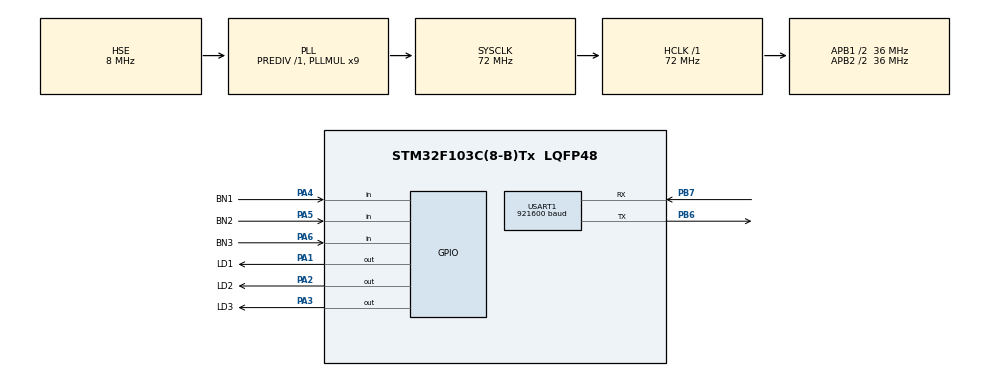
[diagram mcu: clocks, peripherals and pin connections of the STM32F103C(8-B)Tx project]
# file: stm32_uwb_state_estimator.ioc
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Dma.Request0=USART1_RX
Dma.Request1=USART1_TX
Dma.USART1_RX.0.Direction=DMA_PERIPH_TO_MEMORY
Dma.USART1_RX.0.Instance=DMA1_Channel5
Dma.USART1_RX.0.MemDataAlignment=DMA_MDATAALIGN_BYTE
Dma.USART1_RX.0.MemInc=DMA_MINC_ENABLE
Dma.USART1_RX.0.Mode=DMA_CIRCULAR
Dma.USART1_RX.0.PeriphDataAlignment=DMA_PDATAALIGN_BYTE
Dma.USART1_RX.0.PeriphInc=DMA_PINC_DISABLE
Dma.USART1_RX.0.Priority=DMA_PRIORITY_HIGH
Dma.USART1_TX.1.Direction=DMA_MEMORY_TO_PERIPH
Dma.USART1_TX.1.Instance=DMA1_Channel4
Dma.USART1_TX.1.MemDataAlignment=DMA_MDATAALIGN_BYTE
Dma.USART1_TX.1.MemInc=DMA_MINC_ENABLE
Dma.USART1_TX.1.Mode=DMA_NORMAL
Dma.USART1_TX.1.PeriphDataAlignment=DMA_PDATAALIGN_BYTE
Dma.USART1_TX.1.PeriphInc=DMA_PINC_DISABLE
Dma.USART1_TX.1.Priority=DMA_PRIORITY_HIGH
Mcu.Family=STM32F1
Mcu.Name=STM32F103C(8-B)Tx
Mcu.Package=LQFP48
NVIC.DMA1_Channel4_IRQn=true\:0\:0\:false\:false\:true\:false\:true\:true
NVIC.DMA1_Channel5_IRQn=true\:0\:0\:false\:false\:true\:false\:true\:true
NVIC.PriorityGroup=NVIC_PRIORITYGROUP_4
NVIC.TIM2_IRQn=true\:0\:0\:false\:false\:true\:true\:true\:true
NVIC.USART1_IRQn=true\:0\:0\:false\:false\:true\:true\:true\:true
PA1.GPIO_Label=LD1
PA1.GPIO_Speed=GPIO_SPEED_FREQ_HIGH
PA1.Signal=GPIO_Output
PA13.Mode=Serial_Wire
PA13.Signal=SYS_JTMS-SWDIO
PA14.Mode=Serial_Wire
PA14.Signal=SYS_JTCK-SWCLK
PA2.GPIO_Label=LD2
PA2.GPIO_Speed=GPIO_SPEED_FREQ_HIGH
PA2.Signal=GPIO_Output
PA3.GPIO_Label=LD3
PA3.GPIO_Speed=GPIO_SPEED_FREQ_HIGH
PA3.Signal=GPIO_Output
PA4.GPIO_Label=BN1
PA4.Signal=GPIO_Input
PA5.GPIO_Label=BN2
PA5.Signal=GPIO_Input
PA6.GPIO_Label=BN3
PA6.Signal=GPIO_Input
PB6.Mode=Asynchronous
PB6.Signal=USART1_TX
PB7.Mode=Asynchronous
PB7.Signal=USART1_RX
PD0-OSC_IN.Mode=HSE-External-Oscillator
PD0-OSC_IN.Signal=RCC_OSC_IN
PD1-OSC_OUT.Mode=HSE-External-Oscillator
PD1-OSC_OUT.Signal=RCC_OSC_OUT
ProjectManager.HeapSize=0x200
ProjectManager.StackSize=0x400
ProjectManager.TargetToolchain=STM32CubeIDE
RCC.AHBFreq_Value=72000000
RCC.APB1CLKDivider=RCC_HCLK_DIV2
RCC.APB1Freq_Value=36000000
RCC.APB1TimFreq_Value=72000000
RCC.APB2CLKDivider=RCC_HCLK_DIV2
RCC.APB2Freq_Value=36000000
RCC.APB2TimFreq_Value=72000000
RCC.EnbaleCSS=true
RCC.HCLKFreq_Value=72000000
RCC.PLLMUL=RCC_PLL_MUL9
RCC.PLLSourceVirtual=RCC_PLLSOURCE_HSE
RCC.SYSCLKFreq_VALUE=72000000
RCC.SYSCLKSource=RCC_SYSCLKSOURCE_PLLCLK
RCC.USBFreq_Value=72000000
TIM2.Period=36000 - 1
TIM2.Prescaler=2 - 1
USART1.BaudRate=921600
USART1.VirtualMode=VM_ASYNC
VP_TIM2_VS_ClockSourceINT.Mode=Internal
board=custom

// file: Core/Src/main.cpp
/* USER CODE BEGIN Header */
/**
  ******************************************************************************
  * @file           : main.c
  * @brief          : Main program body
  ******************************************************************************
  * @attention
  *
  * Copyright (c) 2022 STMicroelectronics.
  * All rights reserved.
  *
  * This software is licensed under terms that can be found in the LICENSE file
  * in the root directory of this software component.
  * If no LICENSE file comes with this software, it is provided AS-IS.
  *
  ******************************************************************************
  */
/* USER CODE END Header */
#include "main.h"
#include "dma.h"
#include "tim.h"
#include "usart.h"
#include "gpio.h"

/* USER CODE BEGIN Includes */
#include "uart_buffer.h"
#include "nlink/tagframe0.h"
#include "nlink/extractor.h"
#include "nlink/publisher.h"
/* USER CODE END Includes */

/* USER CODE BEGIN PV */
int m_sec;
UARTBuffer uart_buffer(&huart1);
ProtocolExtractor<512, 28, 4> extractor(uart_buffer, g_nlt_tagframe0);
DataTransmissionPublisher<10> publisher(uart_buffer);
/* USER CODE END PV */

void SystemClock_Config(void);

/* USER CODE BEGIN 0 */
void HAL_UART_TxCpltCallback(UART_HandleTypeDef *huart) {
    extractor.uart_buffer.flush();
}

void HAL_UART_ErrorCallback(UART_HandleTypeDef *huart) {
    if (huart == &huart1) {
        HAL_UART_DeInit(&huart1);
        MX_USART1_UART_Init();
        extractor.uart_buffer.reset_rbuf();
    }
}

void HAL_TIM_PeriodElapsedCallback(TIM_HandleTypeDef *htim) {
    if (htim == &htim2) {
        ++m_sec;
    }
}
/* USER CODE END 0 */

int main(void) {

    /* MCU Configuration--------------------------------------------------------*/

    /* Reset of all peripherals, Initializes the Flash interface and the Systick. */
    HAL_Init();

    /* Configure the system clock */
    SystemClock_Config();

    /* Initialize all configured peripherals */
    MX_GPIO_Init();
    MX_DMA_Init();
    MX_USART1_UART_Init();
    MX_TIM2_Init();
    /* USER CODE BEGIN 2 */
    HAL_TIM_Base_Start_IT(&htim2);
    uart_buffer.init();
    /* USER CODE END 2 */

    /* Infinite loop */
    while (1) {

        /* USER CODE BEGIN 3 */
        GPIO_PinState state = (extractor.success_cnt >> 2 & 0x1) ? GPIO_PIN_SET : GPIO_PIN_RESET;
        HAL_GPIO_WritePin(GPIOC, GPIO_PIN_13, state);

        extractor.addData();
        if (extractor.is_success) {
            publisher.publish(extractor.tx_data_buf, extractor.tx_buffer_size);
        }
    }
    /* USER CODE END 3 */
}

void SystemClock_Config(void) {
    RCC_OscInitTypeDef RCC_OscInitStruct = {0};
    RCC_ClkInitTypeDef RCC_ClkInitStruct = {0};
    RCC_PeriphCLKInitTypeDef PeriphClkInit = {0};

    /** Initializes the RCC Oscillators according to the specified parameters
    * in the RCC_OscInitTypeDef structure.
    */
    RCC_OscInitStruct.OscillatorType = RCC_OSCILLATORTYPE_HSE;
    RCC_OscInitStruct.HSEState = RCC_HSE_ON;
    RCC_OscInitStruct.HSEPredivValue = RCC_HSE_PREDIV_DIV1;
    RCC_OscInitStruct.HSIState = RCC_HSI_ON;
    RCC_OscInitStruct.PLL.PLLState = RCC_PLL_ON;
    RCC_OscInitStruct.PLL.PLLSource = RCC_PLLSOURCE_HSE;
    RCC_OscInitStruct.PLL.PLLMUL = RCC_PLL_MUL9;
    if (HAL_RCC_OscConfig(&RCC_OscInitStruct) != HAL_OK) {
        Error_Handler();
    }

    /** Initializes the CPU, AHB and APB buses clocks
    */
    RCC_ClkInitStruct.ClockType = RCC_CLOCKTYPE_HCLK | RCC_CLOCKTYPE_SYSCLK
                                  | RCC_CLOCKTYPE_PCLK1 | RCC_CLOCKTYPE_PCLK2;
    RCC_ClkInitStruct.SYSCLKSource = RCC_SYSCLKSOURCE_PLLCLK;
    RCC_ClkInitStruct.AHBCLKDivider = RCC_SYSCLK_DIV1;
    RCC_ClkInitStruct.APB1CLKDivider = RCC_HCLK_DIV2;
    RCC_ClkInitStruct.APB2CLKDivider = RCC_HCLK_DIV2;

    if (HAL_RCC_ClockConfig(&RCC_ClkInitStruct, FLASH_LATENCY_2) != HAL_OK) {
        Error_Handler();
    }
    PeriphClkInit.PeriphClockSelection = RCC_PERIPHCLK_USB;
    PeriphClkInit.UsbClockSelection = RCC_USBCLKSOURCE_PLL_DIV1_5;
    if (HAL_RCCEx_PeriphCLKConfig(&PeriphClkInit) != HAL_OK) {
        Error_Handler();
    }

    /** Enables the Clock Security System
    */
    HAL_RCC_EnableCSS();
}

void Error_Handler(void) {
    __disable_irq();
    while (1) {
    }
}
